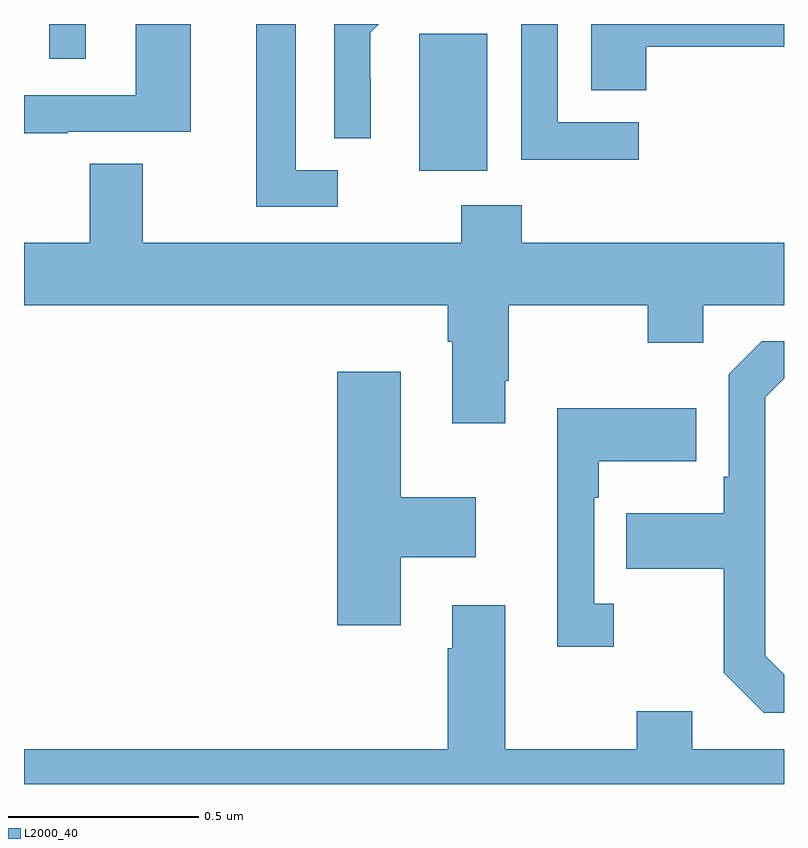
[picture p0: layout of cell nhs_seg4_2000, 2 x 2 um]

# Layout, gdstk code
import gdstk
lib = gdstk.Library(unit=1e-6, precision=1e-09)
def R(c, l, rs):  # rectangles x0, y0, x1, y1
    for r in rs: c.add(gdstk.rectangle(r[:2], r[2:], *l))
def P(c, l, *ps):  # polygons
    for p in ps: c.add(gdstk.Polygon(p, *l))
L2000_40 = (2000, 40)

nhs_seg4_2000 = lib.new_cell('nhs_seg4_2000')
R(nhs_seg4_2000, L2000_40, [(136.04,790.514,136.219,790.875), (135.066,790.809,135.163,790.9)])
P(nhs_seg4_2000, L2000_40, [(135.826,790.515),(135.715,790.515),(135.715,790.9),(135.611,790.9),(135.611,790.419),(135.826,790.419)],
  [(135.912,790.754),(135.911,790.754),(135.911,790.877),(135.934,790.9),(135.816,790.9),(135.816,790.6),(135.912,790.6)],
  [(136.618,790.641),(136.404,790.641),(136.404,790.9),(136.308,790.9),(136.308,790.543),(136.618,790.543)],
  [(135.115,790.617),(135.439,790.617),(135.439,790.9),(135.294,790.9),(135.294,790.713),(135,790.713),(135,790.613),(135.115,790.613)],
  [(136.637,790.84),(137,790.84),(137,790.9),(136.493,790.9),(136.493,790.726),(136.637,790.726)],
  [(136.267,789.961),(136.275,789.961),(136.275,790.16),(136.642,790.16),(136.642,790.061),(136.788,790.061),(136.788,790.16),(137,790.16),(137,790.324),(136.31,790.324),(136.31,790.423),(136.15,790.423),(136.15,790.324),(135.313,790.324),(135.313,790.532),(135.173,790.532),(135.173,790.324),(135,790.324),(135,790.16),(136.115,790.16),(136.115,790.064),(136.127,790.064),(136.127,789.849),(136.267,789.849)],
  [(137,789.187),(136.95,789.237),(136.95,789.918),(137,789.968),(137,790.065),(136.941,790.065),(136.854,789.978),(136.854,789.709),(136.842,789.709),(136.842,789.613),(136.585,789.613),(136.585,789.466),(136.842,789.466),(136.842,789.193),(136.947,789.087),(137,789.087)],
  [(135.991,789.497),(136.189,789.497),(136.189,789.655),(135.991,789.655),(135.991,789.985),(135.824,789.985),(135.824,789.318),(135.991,789.318)],
  [(136.552,789.374),(136.5,789.374),(136.5,789.653),(136.513,789.653),(136.513,789.749),(136.769,789.749),(136.769,789.889),(136.403,789.889),(136.403,789.261),(136.552,789.261)],
  [(137,788.992),(136.759,788.992),(136.759,789.091),(136.612,789.091),(136.612,788.992),(136.267,788.992),(136.267,789.37),(136.127,789.37),(136.127,789.257),(136.115,789.257),(136.115,788.992),(135,788.992),(135,788.9),(137,788.9)])

lib.write_gds('nhs_seg4_2000.gds')
